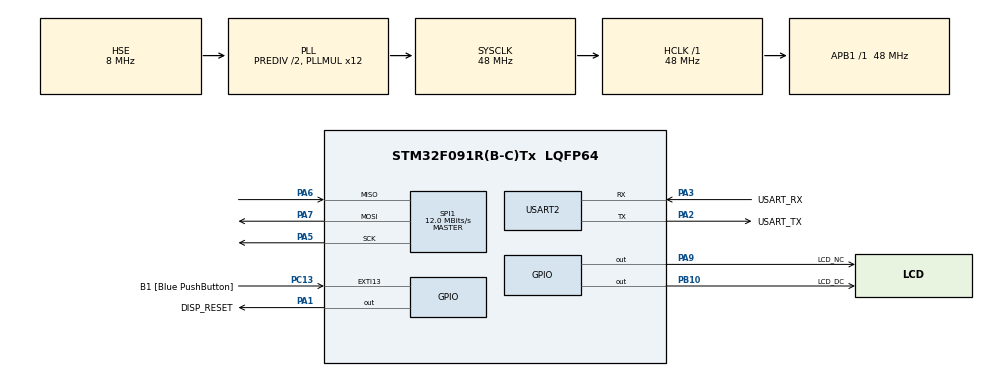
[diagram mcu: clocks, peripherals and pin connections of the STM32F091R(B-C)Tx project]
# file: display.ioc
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Dma.Request0=SPI1_TX
Dma.Request1=USART2_RX
Dma.SPI1_TX.0.Direction=DMA_MEMORY_TO_PERIPH
Dma.SPI1_TX.0.Instance=DMA1_Channel3
Dma.SPI1_TX.0.MemDataAlignment=DMA_MDATAALIGN_BYTE
Dma.SPI1_TX.0.MemInc=DMA_MINC_ENABLE
Dma.SPI1_TX.0.Mode=DMA_NORMAL
Dma.SPI1_TX.0.PeriphDataAlignment=DMA_PDATAALIGN_BYTE
Dma.SPI1_TX.0.PeriphInc=DMA_PINC_DISABLE
Dma.SPI1_TX.0.Priority=DMA_PRIORITY_HIGH
Dma.USART2_RX.1.Direction=DMA_PERIPH_TO_MEMORY
Dma.USART2_RX.1.Instance=DMA1_Channel1
Dma.USART2_RX.1.MemDataAlignment=DMA_MDATAALIGN_BYTE
Dma.USART2_RX.1.MemInc=DMA_MINC_ENABLE
Dma.USART2_RX.1.Mode=DMA_NORMAL
Dma.USART2_RX.1.PeriphDataAlignment=DMA_PDATAALIGN_BYTE
Dma.USART2_RX.1.PeriphInc=DMA_PINC_DISABLE
Dma.USART2_RX.1.Priority=DMA_PRIORITY_LOW
Mcu.Family=STM32F0
Mcu.Name=STM32F091R(B-C)Tx
Mcu.Package=LQFP64
NVIC.DMA1_Ch1_IRQn=true\:0\:0\:false\:false\:true\:false\:true\:true
NVIC.DMA1_Ch2_3_DMA2_Ch1_2_IRQn=true\:0\:0\:false\:false\:true\:false\:true\:true
NVIC.USART2_IRQn=true\:0\:0\:false\:false\:true\:true\:true\:true
PA1.GPIO_Label=DISP_RESET
PA1.Signal=GPIO_Output
PA13.GPIO_Label=TMS
PA13.Mode=Serial_Wire
PA13.Signal=SYS_SWDIO
PA14.GPIO_Label=TCK
PA14.Mode=Serial_Wire
PA14.Signal=SYS_SWCLK
PA2.GPIO_Label=USART_TX
PA2.GPIO_Mode=GPIO_MODE_AF_PP
PA2.GPIO_PuPd=GPIO_NOPULL
PA2.GPIO_Speed=GPIO_SPEED_FREQ_LOW
PA2.Mode=Asynchronous
PA2.Signal=USART2_TX
PA3.GPIO_Label=USART_RX
PA3.GPIO_Mode=GPIO_MODE_AF_PP
PA3.GPIO_PuPd=GPIO_NOPULL
PA3.GPIO_Speed=GPIO_SPEED_FREQ_LOW
PA3.Mode=Asynchronous
PA3.Signal=USART2_RX
PA5.Mode=Full_Duplex_Master
PA5.Signal=SPI1_SCK
PA6.Mode=Full_Duplex_Master
PA6.Signal=SPI1_MISO
PA7.Mode=Full_Duplex_Master
PA7.Signal=SPI1_MOSI
PA9.GPIO_Label=LCD_NC
PA9.Signal=GPIO_Output
PB10.GPIO_Label=LCD_DC
PB10.Signal=GPIO_Output
PC13.GPIO_Label=B1 [Blue PushButton]
PC13.GPIO_ModeDefaultEXTI=GPIO_MODE_IT_FALLING
PC13.Signal=GPXTI13
PC14OSC32_IN.Mode=LSE-External-Oscillator
PC14OSC32_IN.Signal=RCC_OSC32_IN
PC15OSC32_OUT.Mode=LSE-External-Oscillator
PC15OSC32_OUT.Signal=RCC_OSC32_OUT
PF0-OSC_IN.Mode=HSE-External-Clock-Source
PF0-OSC_IN.Signal=RCC_OSC_IN
PF1-OSC_OUT.Signal=RCC_OSC_OUT
ProjectManager.HeapSize=0x200
ProjectManager.StackSize=0x400
ProjectManager.TargetToolchain=STM32CubeIDE
RCC.AHBFreq_Value=48000000
RCC.APB1Freq_Value=48000000
RCC.APB1TimFreq_Value=48000000
RCC.FLatency-AdvancedSettings=FLASH_LATENCY_1
RCC.HCLKFreq_Value=48000000
RCC.PLLDivider=RCC_PREDIV_DIV2
RCC.PLLMUL=RCC_PLL_MUL12
RCC.PLLSourceVirtual=RCC_PLLSOURCE_HSE
RCC.PREFETCH_ENABLE-AdvancedSettings=1
RCC.SYSCLKFreq_VALUE=48000000
RCC.SYSCLKSource=RCC_SYSCLKSOURCE_PLLCLK
SPI1.BaudRatePrescaler=SPI_BAUDRATEPRESCALER_4
SPI1.CalculateBaudRate=12.0 MBits/s
SPI1.DataSize=SPI_DATASIZE_8BIT
SPI1.Direction=SPI_DIRECTION_2LINES
SPI1.Mode=SPI_MODE_MASTER
SPI1.NSSPMode=SPI_NSS_PULSE_ENABLE
SPI1.VirtualType=VM_MASTER
USART2.VirtualMode=VM_ASYNC
USART2.VirtualMode-Asynchronous=VM_ASYNC
board=NUCLEO-F091RC

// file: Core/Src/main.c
/* USER CODE BEGIN Header */
/**
 ******************************************************************************
 * @file           : main.c
 * @brief          : Main program body
 ******************************************************************************
 * @attention
 *
 * Copyright (c) 2026 STMicroelectronics.
 * All rights reserved.
 *
 * This software is licensed under terms that can be found in the LICENSE file
 * in the root directory of this software component.
 * If no LICENSE file comes with this software, it is provided AS-IS.
 *
 ******************************************************************************
 */
// Luke Fadel
// June 15, 2026
// For X-NUCLEO-GFX01M2 (uses ILI9341V driver)
// using NUCLEO-F091RC development board
/* USER CODE END Header */
#include "main.h"

/* USER CODE BEGIN Includes */
#include "display.h"
/* USER CODE END Includes */

SPI_HandleTypeDef hspi1;
DMA_HandleTypeDef hdma_spi1_tx;

UART_HandleTypeDef huart2;
DMA_HandleTypeDef hdma_usart2_rx;

void SystemClock_Config(void);
static void MX_GPIO_Init(void);
static void MX_DMA_Init(void);
static void MX_USART2_UART_Init(void);
static void MX_SPI1_Init(void);

/* USER CODE BEGIN 0 */
uint8_t serialBuffer[100];
uint32_t recievedSize = 0;
uint8_t confirmation[] = "\n\rCommand received\r\n";
// on serial command receive
void HAL_UARTEx_RxEventCallback(UART_HandleTypeDef *huart, uint16_t Size) {
	recievedSize = Size;

	//sending confirmation message back to source
	HAL_UART_Transmit_IT(huart, confirmation, sizeof(confirmation)-1);

	//restarting receive
	HAL_UARTEx_ReceiveToIdle_DMA(huart, serialBuffer, sizeof(serialBuffer));
}
/* USER CODE END 0 */

int main(void)
{

  /* MCU Configuration--------------------------------------------------------*/

  /* Reset of all peripherals, Initializes the Flash interface and the Systick. */
  HAL_Init();

  /* Configure the system clock */
  SystemClock_Config();

  /* Initialize all configured peripherals */
  MX_GPIO_Init();
  MX_DMA_Init();
  MX_USART2_UART_Init();
  MX_SPI1_Init();
  /* USER CODE BEGIN 2 */
	HAL_Delay(200);
	LCD_RESET();
	HAL_Delay(200);
// Exit sleep mode
	LCD_CMD(&hspi1, 0x11);      // SLPOUT
	HAL_Delay(120);              // datasheet requires ≥120 ms after SLPOUT

// pixel format: 16-bit (RGB565)
	LCD_CMD(&hspi1, 0x3A);      // COLMOD
	uint8_t colmod = 0x55;       // 0x55 = 16bpp
	LCD_DATA(&hspi1, &colmod, 1);

// memory access control (row/col order, RGB order) - instruction 36h
	LCD_CMD(&hspi1, 0x36);      // MADCTL
// bgr enabled, all other bits disabled (00001000)
	uint8_t madctl = 0x8;
	LCD_DATA(&hspi1, &madctl, 1);

// turn display on
	LCD_CMD(&hspi1, 0x29);      // DISPON
	HAL_Delay(100);

//filling screen
//	fillScreen(&hspi1, 0xb30b97);
//
////displaying a pixel
//	writePixel(&hspi1, 0xA, 0xA, 0x27249e);
//
	HAL_Delay(200);

	displayImage(&hspi1);

// DMA serial command recieve until IDLE
	HAL_UARTEx_ReceiveToIdle_DMA(&huart2, serialBuffer, sizeof(serialBuffer));
  /* USER CODE END 2 */

  /* Infinite loop */
	while (1) {

	}
}

void SystemClock_Config(void)
{
  RCC_OscInitTypeDef RCC_OscInitStruct = {0};
  RCC_ClkInitTypeDef RCC_ClkInitStruct = {0};
  RCC_PeriphCLKInitTypeDef PeriphClkInit = {0};

  /** Initializes the RCC Oscillators according to the specified parameters
  * in the RCC_OscInitTypeDef structure.
  */
  RCC_OscInitStruct.OscillatorType = RCC_OSCILLATORTYPE_HSE;
  RCC_OscInitStruct.HSEState = RCC_HSE_BYPASS;
  RCC_OscInitStruct.PLL.PLLState = RCC_PLL_ON;
  RCC_OscInitStruct.PLL.PLLSource = RCC_PLLSOURCE_HSE;
  RCC_OscInitStruct.PLL.PLLMUL = RCC_PLL_MUL12;
  RCC_OscInitStruct.PLL.PREDIV = RCC_PREDIV_DIV2;
  if (HAL_RCC_OscConfig(&RCC_OscInitStruct) != HAL_OK)
  {
    Error_Handler();
  }

  /** Initializes the CPU, AHB and APB buses clocks
  */
  RCC_ClkInitStruct.ClockType = RCC_CLOCKTYPE_HCLK|RCC_CLOCKTYPE_SYSCLK
                              |RCC_CLOCKTYPE_PCLK1;
  RCC_ClkInitStruct.SYSCLKSource = RCC_SYSCLKSOURCE_PLLCLK;
  RCC_ClkInitStruct.AHBCLKDivider = RCC_SYSCLK_DIV1;
  RCC_ClkInitStruct.APB1CLKDivider = RCC_HCLK_DIV1;

  if (HAL_RCC_ClockConfig(&RCC_ClkInitStruct, FLASH_LATENCY_1) != HAL_OK)
  {
    Error_Handler();
  }
  PeriphClkInit.PeriphClockSelection = RCC_PERIPHCLK_USART2;
  PeriphClkInit.Usart2ClockSelection = RCC_USART2CLKSOURCE_PCLK1;
  if (HAL_RCCEx_PeriphCLKConfig(&PeriphClkInit) != HAL_OK)
  {
    Error_Handler();
  }
}

static void MX_SPI1_Init(void)
{

  /* SPI1 parameter configuration*/
  hspi1.Instance = SPI1;
  hspi1.Init.Mode = SPI_MODE_MASTER;
  hspi1.Init.Direction = SPI_DIRECTION_2LINES;
  hspi1.Init.DataSize = SPI_DATASIZE_8BIT;
  hspi1.Init.CLKPolarity = SPI_POLARITY_LOW;
  hspi1.Init.CLKPhase = SPI_PHASE_1EDGE;
  hspi1.Init.NSS = SPI_NSS_SOFT;
  hspi1.Init.BaudRatePrescaler = SPI_BAUDRATEPRESCALER_4;
  hspi1.Init.FirstBit = SPI_FIRSTBIT_MSB;
  hspi1.Init.TIMode = SPI_TIMODE_DISABLE;
  hspi1.Init.CRCCalculation = SPI_CRCCALCULATION_DISABLE;
  hspi1.Init.CRCPolynomial = 7;
  hspi1.Init.CRCLength = SPI_CRC_LENGTH_DATASIZE;
  hspi1.Init.NSSPMode = SPI_NSS_PULSE_ENABLE;
  if (HAL_SPI_Init(&hspi1) != HAL_OK)
  {
    Error_Handler();
  }

}

static void MX_USART2_UART_Init(void)
{

  huart2.Instance = USART2;
  huart2.Init.BaudRate = 115200;
  huart2.Init.WordLength = UART_WORDLENGTH_8B;
  huart2.Init.StopBits = UART_STOPBITS_1;
  huart2.Init.Parity = UART_PARITY_NONE;
  huart2.Init.Mode = UART_MODE_TX_RX;
  huart2.Init.HwFlowCtl = UART_HWCONTROL_NONE;
  huart2.Init.OverSampling = UART_OVERSAMPLING_16;
  huart2.Init.OneBitSampling = UART_ONE_BIT_SAMPLE_DISABLE;
  huart2.AdvancedInit.AdvFeatureInit = UART_ADVFEATURE_NO_INIT;
  if (HAL_UART_Init(&huart2) != HAL_OK)
  {
    Error_Handler();
  }

}

static void MX_DMA_Init(void)
{

  /* DMA controller clock enable */
  __HAL_RCC_DMA1_CLK_ENABLE();

  /* DMA interrupt init */
  /* DMA1_Ch1_IRQn interrupt configuration */
  HAL_NVIC_SetPriority(DMA1_Ch1_IRQn, 0, 0);
  HAL_NVIC_EnableIRQ(DMA1_Ch1_IRQn);
  /* DMA1_Ch2_3_DMA2_Ch1_2_IRQn interrupt configuration */
  HAL_NVIC_SetPriority(DMA1_Ch2_3_DMA2_Ch1_2_IRQn, 0, 0);
  HAL_NVIC_EnableIRQ(DMA1_Ch2_3_DMA2_Ch1_2_IRQn);

}

static void MX_GPIO_Init(void)
{
  GPIO_InitTypeDef GPIO_InitStruct = {0};

  /* GPIO Ports Clock Enable */
  __HAL_RCC_GPIOC_CLK_ENABLE();
  __HAL_RCC_GPIOF_CLK_ENABLE();
  __HAL_RCC_GPIOA_CLK_ENABLE();
  __HAL_RCC_GPIOB_CLK_ENABLE();

  /*Configure GPIO pin Output Level */
  HAL_GPIO_WritePin(GPIOA, DISP_RESET_Pin|LCD_NC_Pin, GPIO_PIN_RESET);

  /*Configure GPIO pin Output Level */
  HAL_GPIO_WritePin(LCD_DC_GPIO_Port, LCD_DC_Pin, GPIO_PIN_RESET);

  /*Configure GPIO pin : B1_Pin */
  GPIO_InitStruct.Pin = B1_Pin;
  GPIO_InitStruct.Mode = GPIO_MODE_IT_FALLING;
  GPIO_InitStruct.Pull = GPIO_NOPULL;
  HAL_GPIO_Init(B1_GPIO_Port, &GPIO_InitStruct);

  /*Configure GPIO pins : DISP_RESET_Pin LCD_NC_Pin */
  GPIO_InitStruct.Pin = DISP_RESET_Pin|LCD_NC_Pin;
  GPIO_InitStruct.Mode = GPIO_MODE_OUTPUT_PP;
  GPIO_InitStruct.Pull = GPIO_NOPULL;
  GPIO_InitStruct.Speed = GPIO_SPEED_FREQ_LOW;
  HAL_GPIO_Init(GPIOA, &GPIO_InitStruct);

  /*Configure GPIO pin : LCD_DC_Pin */
  GPIO_InitStruct.Pin = LCD_DC_Pin;
  GPIO_InitStruct.Mode = GPIO_MODE_OUTPUT_PP;
  GPIO_InitStruct.Pull = GPIO_NOPULL;
  GPIO_InitStruct.Speed = GPIO_SPEED_FREQ_LOW;
  HAL_GPIO_Init(LCD_DC_GPIO_Port, &GPIO_InitStruct);

}

void Error_Handler(void)
{
	__disable_irq();
	while (1) {
	}
}
